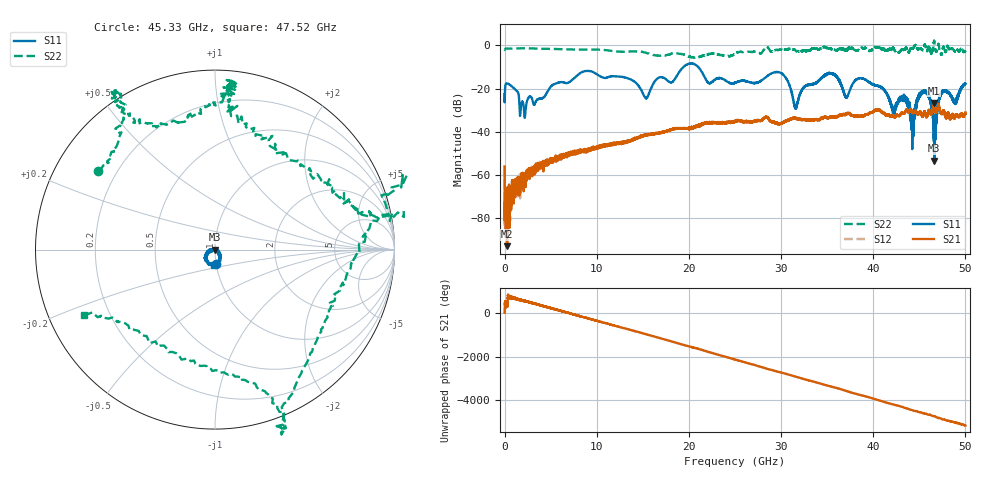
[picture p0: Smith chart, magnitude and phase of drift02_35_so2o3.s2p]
!Created with skrf (http://scikit-rf.org).
# Hz S RI R 50.0
!freq ReS11 ImS11 ReS21 ImS21 ReS12 ImS12 ReS22 ImS22
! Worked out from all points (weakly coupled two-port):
!   10001 points, 300 kHz to 50 GHz, reference 50 ohm
!   highest |S21| = -26.74 dB at 46.59 GHz (marker M1); lowest = -93.2 dB at 275.3 MHz (marker M2)
!   lowest |S11| = -53.5 dB at 46.62 GHz (marker M3), VSWR 1.00, Z = 49.8 - j0.0871 ohm
!   |S11| at or under -10 dB: start of sweep to 19.42 GHz; 21.00517 GHz to 21.00517 GHz (166.1 Hz wide, 7.91e-07 % of centre); 21.01 GHz to end of sweep
!   |S22| runs from -5.7 to 2.3 dB; largest |S21 - S12| = 0.0036
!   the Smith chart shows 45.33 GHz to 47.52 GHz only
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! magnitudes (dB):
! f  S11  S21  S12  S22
! 300 kHz  -22.7  -56.2  -62.3  -2.1
! 275.3 MHz  -17.6  -93.2  -75.9  -1.4
! 2.18 GHz  -33.6  -61.1  -62.4  -1.3
! 8.335 GHz  -12.5  -49.4  -49.0  -1.9
! 15.34 GHz  -24.5  -41.5  -41.7  -3.3
! 16.67 GHz  -15.1  -40.6  -41.0  -4.7
! 20.3 GHz  -8.4  -38.3  -38.3  -5.5
! 25 GHz  -17.3  -35.5  -35.3  -3.9
! 29.83 GHz  -12.6  -36.3  -36.5  -2.0
! 31.6 GHz  -29.0  -33.9  -34.0  -2.5
! 33.34 GHz  -18.2  -34.5  -34.5  -1.6
! 35.59 GHz  -13.4  -33.3  -33.3  -1.6
! 37.1 GHz  -24.2  -31.6  -31.7  -2.3
! 38.76 GHz  -15.3  -32.7  -32.7  -1.0
! 41.67 GHz  -24.1  -32.2  -32.3  -1.9
! 43.43 GHz  -24.0  -31.0  -31.3  -1.9
! 44.26 GHz  -40.8  -31.4  -31.0  -1.5
! 45.7 GHz  -21.7  -32.4  -32.6  -0.9
! 46.59 GHz  -40.9  -26.7  -27.1  1.9
! 46.62 GHz  -53.5  -27.0  -27.1  2.2
! 47.49 GHz  -21.6  -31.4  -31.5  -3.0
! 50 GHz  -17.8  -31.1  -31.6  -2.6
